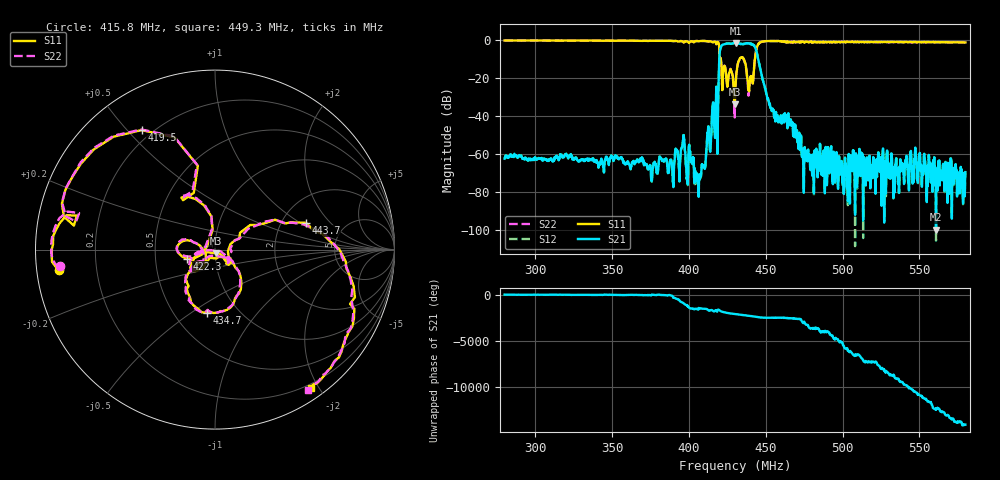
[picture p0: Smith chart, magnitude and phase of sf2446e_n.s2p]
!Keysight Technologies,E5080A,MY55200989,A.11.70.00
!Date: Friday, June 15, 2018 10:23:17
!Correction: S11(Full 2 Port(1,2))
!S21(Full 2 Port(1,2))
!S12(Full 2 Port(1,2))
!S22(Full 2 Port(1,2))
!S2P File: Measurements: S11, S21, S12, S22:
# Hz S  dB  R 50
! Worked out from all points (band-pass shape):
!   1601 points, 280 MHz to 580 MHz, reference 50 ohm
!   highest |S21| = -1.43 dB at 430.6 MHz (marker M1); lowest = -99.6 dB at 560.9 MHz (marker M2)
!   |S21| within 3 dB of the highest: 420.4 MHz to 443.4 MHz (22.96 MHz wide, 5.32 % of centre)
!   lowest |S11| = -33.6 dB at 429.8 MHz (marker M3), VSWR 1.04, Z = 50.3 - j2.06 ohm
!   |S11| at or under -10 dB: 420.7 MHz to 433 MHz (12.23 MHz wide, 2.87 % of centre); 435.7 MHz to 442.9 MHz (7.235 MHz wide, 1.65 % of centre)
!   |S22| runs from -40.6 to -0.1 dB; largest |S21 - S12| = 0.0007
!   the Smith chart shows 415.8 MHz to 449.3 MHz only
!   S11 on the Smith chart (normalised r, x): 415.8 MHz: 0.07, -0.06; 419.5 MHz: 0.16, +0.55; 422.3 MHz: 0.73, -0.07; 434.7 MHz: 0.72, -0.58; 443.7 MHz: 2.71, +1.12; 449.3 MHz: 0.14, -1.90
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2.8e8  -0.14 -78.7  -62.27 16.8  -62.26 16.7  -0.14 -79.3
3.300625e8  -0.18 -94.1  -62.72 -8.6  -62.76 -8.9  -0.18 -95.0
3.80125e8  -0.29 -115.0  -66.72 6.4  -66.62 6.9  -0.28 -116.1
3.9625e8  -0.87 -129.4  -52.28 -161.1  -52.24 -160.9  -0.93 -131.0
4.065625e8  -0.52 -138.7  -73.39 -21.2  -73.15 -25.5  -0.49 -140.1
4.1575e8  -1.13 -172.6  -32.62 64.9  -32.63 64.9  -1.20 -173.9
4.178125e8  -2.03 166.1  -24.46 96.8  -24.47 96.8  -2.11 165.0
4.195e8  -2.14 121.6  -16.81 171.0  -16.82 170.9  -2.10 121.5
4.223125e8  -15.70 -162.2  -2.29 -68.7  -2.28 -68.7  -15.87 -166.2
4.256875e8  -19.94 -123.0  -1.67 175.6  -1.67 175.6  -19.47 -131.7
4.298125e8  -33.62 -79.3  -1.61 79.4  -1.61 79.4  -40.59 -71.3
4.3e8  -29.12 -41.8  -1.55 75.6  -1.55 75.6  -30.33 -16.1
4.305625e8  -20.83 -36.1  -1.43 63.2  -1.43 63.2  -20.39 -31.4
4.346875e8  -8.99 -97.5  -2.05 -17.6  -2.05 -17.7  -9.01 -99.1
4.388125e8  -26.31 -91.5  -1.56 -98.6  -1.56 -98.6  -29.15 -84.9
4.414375e8  -21.60 -25.0  -2.23 -160.9  -2.23 -160.9  -21.10 -13.1
4.436875e8  -5.56 16.5  -5.08 127.7  -5.08 127.7  -5.76 15.7
4.493125e8  -0.54 -55.3  -24.43 40.5  -24.41 40.6  -0.54 -56.4
4.800625e8  -0.93 -106.1  -63.73 -15.8  -63.76 -17.1  -1.05 -107.7
5.30125e8  -0.92 -122.9  -72.29 120.7  -71.94 115.2  -1.20 -124.5
5.60875e8  -1.07 -130.5  -99.64 -179.8  -105.42 175.2  -1.01 -132.9
5.8e8  -1.17 -135.5  -69.35 21.6  -69.62 19.6  -1.20 -137.8
